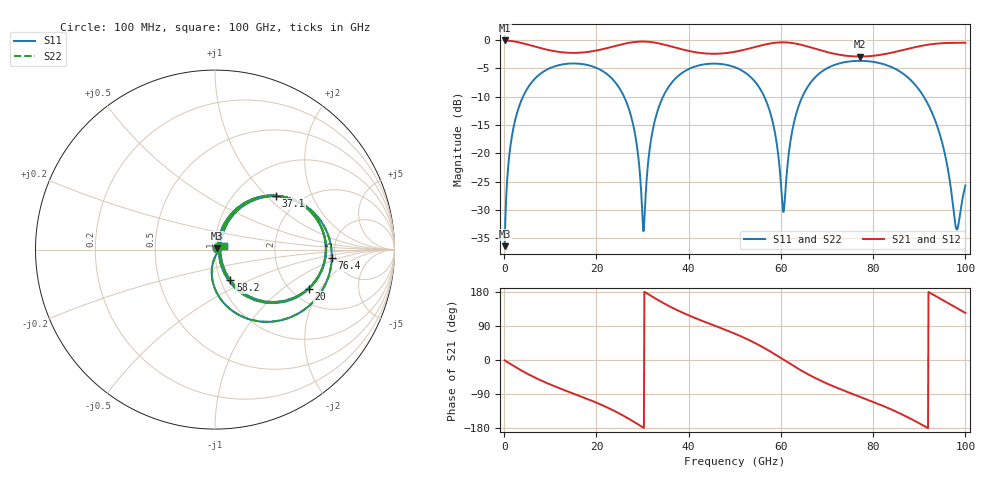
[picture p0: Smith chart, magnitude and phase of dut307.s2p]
! Touchstone file exported from HFSS 2026.1.0
!  File:  C:/ffzhzh/LocalFiles/Ansys_Project_Files/temp_train_TSV_RDL_307_1783697815_44652.aedt
!  Generated:  11:45:17 PM Jul 10, 2026
!  Design:  TSV_RDL
!  Project:  temp_train_TSV_RDL_307_1783697815_44652
! Variables:
!  h_bsmrdl = 2.56um
!  h_ox = 20um
!  h_rdl = 5um
!  h_sub = 74.26um
!  h_tmrdl = 3.04um
!  h_tsv = 74.26um
!  h_via = 3um
!  l_bsmrdl = 257.06um
!  l_sub = 1959.3um
!  l_tmrdl = 166.7um
!  m_sub = 200um
!  pitch = 58.68um
!  r_tsv = 5.84um
!  s_tmrdl = 10um
!  w_bsmrdl = 17.06um
!  w_sub = 500um
!  w_tmrdl = 23.38um
!  x_tsv_center1 = 178.39um
!  x_tsv_center2 = 452.51um
!  x_tsv_center3 = 642.59um
!  x_tsv_center4 = 916.71um
!  x_tsv_center5 = 1106.79um
!  x_tsv_center6 = 1380.91um
# GHz S MA R 50.000000
! Terminal data exported
! Port[1] = TM_RDL1_1_T1
! Port[2] = TM_RDL5_1_T1
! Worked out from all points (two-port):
!   1000 points, 100 MHz to 100 GHz, reference 50 ohm
!   highest |S21| = -0.11 dB at 100 MHz (marker M1); lowest = -2.9 dB at 77.1 GHz (marker M2)
!   |S21| within 3 dB of the highest: start of sweep to end of sweep
!   lowest |S11| = -36.4 dB at 100 MHz (marker M3), VSWR 1.03, Z = 51.2 + j0.9 ohm
!   |S11| at or under -10 dB: 25.99 GHz to 34.47 GHz (8.484 GHz wide, 28.1 % of centre); 56.38 GHz to 64.67 GHz (8.288 GHz wide, 13.7 % of centre); 90.96 GHz to end of sweep (the widest 3 of 4)
!   |S22| runs from -36.4 to -3.7 dB; largest |S21 - S12| = 1.1e-12
!   S11 on the Smith chart (normalised r, x): 100 MHz: 1.02, +0.02; 20 GHz: 2.45, -1.59; 37.1 GHz: 1.51, +1.15; 58.2 GHz: 1.11, -0.39; 76.4 GHz: 4.62, -0.77; 100 GHz: 1.10, +0.04
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0.1  0.01517 35.4  0.9877 -0.8  0.9877 -0.8  0.01517 35.4
! Gamma 0 0 0 0
! Port Impedance 50 0 50 0
1.5  0.127 71.8  0.977 -11.5  0.977 -11.5  0.127 71.8
4.2  0.3226 56.2  0.9293 -30.8  0.9293 -30.8  0.3226 56.2
16.8  0.6127 -7.8  0.7724 -96.9  0.7724 -96.9  0.6127 -7.8
20  0.5659 -22.9  0.8051 -112.6  0.8051 -112.6  0.5659 -22.8
27  0.2489 -61.7  0.94 -155.0  0.94 -155.0  0.249 -61.7
28.7  0.1231 -69.0  0.9611 -167.3  0.9611 -167.3  0.1231 -68.9
30.2  0.02051 -2.9  0.9664 -178.5  0.9664 -178.5  0.02058 -3.0
31.7  0.1205 69.7  0.9578 170.3  0.9578 170.3  0.1205 69.6
33.4  0.2458 62.6  0.9334 158.0  0.9334 158.0  0.2457 62.6
37.1  0.4547 41.3  0.8549 134.0  0.8549 134.0  0.4547 41.3
50.1  0.5718 -20.6  0.7861 69.0  0.7861 69.0  0.5717 -20.6
58.2  0.1905 -63.4  0.9363 18.8  0.9363 18.8  0.1904 -63.4
60.6  0.0305 7.4  0.951 0.6  0.951 0.6  0.03038 7.4
62.9  0.1913 63.7  0.9315 -16.8  0.9315 -16.8  0.1913 63.8
66.7  0.4331 43.3  0.8523 -43.0  0.8523 -43.0  0.4331 43.4
76.4  0.6523 -4.2  0.7134 -93.6  0.7134 -93.6  0.6522 -4.2
77.1  0.653 -7.3  0.7127 -96.8  0.7127 -96.8  0.653 -7.3
83.4  0.5883 -36.7  0.7613 -127.6  0.7613 -127.6  0.5882 -36.6
92.9  0.2213 -89.8  0.918 173.2  0.918 173.2  0.2213 -89.7
98.1  0.02129 -40.5  0.9415 137.0  0.9415 137.0  0.02125 -40.4
100  0.05202 20.5  0.9427 124.2  0.9427 124.2  0.052 20.7
